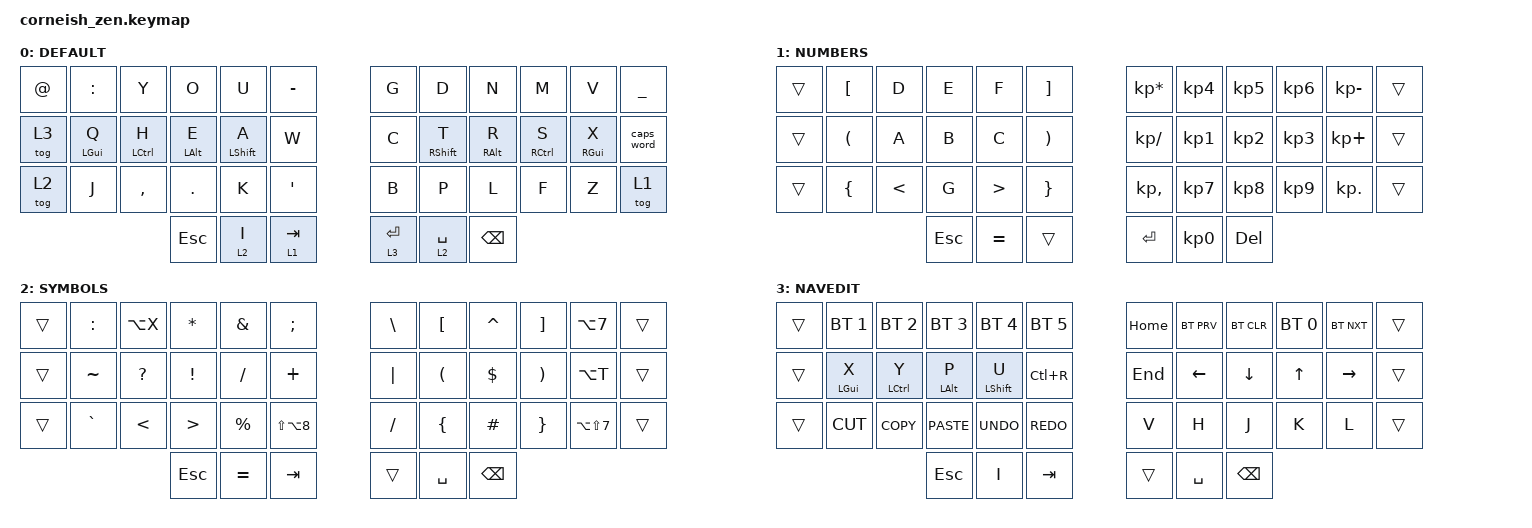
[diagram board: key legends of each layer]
#include <behaviors.dtsi>
#include <dt-bindings/zmk/keys.h>
#include <dt-bindings/zmk/bt.h>

#define DEFAULT 0
#define NUMBERS 1
#define SYMBOLS 2
#define NAVEDIT 3

&caps_word {
    continue-list = <UNDERSCORE MINUS BACKSPACE DELETE>;
};

/ {
  chosen {
    zmk,matrix_transform = &default_transform;
  };
};

/ {
    behaviors {
        hm: homerow_mods {
            compatible = "zmk,behavior-hold-tap";
            label = "HOMEROW_MODS";
            #binding-cells = <2>;
            tapping-term-ms = <150>;
            quick-tap-ms = <0>;
            flavor = "tap-preferred";
            bindings = <&kp>, <&kp>;
        };
    };

    keymap {
                compatible = "zmk,keymap";

                default_layer {
                        label = "DEFAULT";
                        bindings = <
   &kp AT   &kp COLON  &kp Y       &kp O      &kp U       &kp MINUS     &kp G     &kp D       &kp N      &kp M       &kp V      &kp UNDER
   &tog 3   &hm LGUI Q &hm LCTRL H &hm LALT E &hm LSHFT A &kp W         &kp C     &hm RSHFT T &hm RALT R &hm RCTRL S &hm RGUI X &caps_word
   &tog 2   &kp J      &kp COMMA   &kp DOT    &kp K       &kp SQT       &kp B     &kp P       &kp L      &kp F       &kp Z      &tog 1
                                   &kp ESC    &lt 2 I     &lt 1 TAB     &lt 3 RET &lt 2 SPC   &kp BSPC
                        >;
                };

                numbers_layer {
                        label = "NUMBERS";
                        bindings = <
   &trans &kp LBKT &kp D  &kp E &kp F  &kp RBKT   &kp KP_MULTIPLY &kp KP_N4 &kp KP_N5 &kp KP_N6 &kp KP_MINUS &trans
   &trans &kp LPAR &kp A  &kp B &kp C  &kp RPAR   &kp KP_DIVIDE   &kp KP_N1 &kp KP_N2 &kp KP_N3 &kp KP_PLUS &trans
   &trans &kp LBRC &kp LT &kp G &kp GT &kp RBRC   &kp KP_COMMA    &kp KP_N7 &kp KP_N8 &kp KP_N9 &kp KP_DOT &trans
                                    &kp ESC &kp EQUAL &trans          &kp RET   &kp KP_N0  &kp DEL
                        >;
                };

                symbols_layer {
                        label = "SYMBOLS";
                        bindings = <
   &trans &kp COLON &kp LA(X) &kp STAR &kp AMPS  &kp SEMI          &kp BSLH &kp LBKT &kp CARET &kp RBKT &kp LA(N7)     &trans
   &trans &kp TILDE &kp QMARK &kp EXCL &kp FSLH  &kp PLUS          &kp PIPE &kp LPAR &kp DLLR  &kp RPAR &kp LA(T)      &trans
   &trans &kp GRAVE &kp LT    &kp GT   &kp PRCNT &kp LS(LA(N8))    &kp FSLH &kp LBRC &kp HASH  &kp RBRC &kp LA(LS(N7)) &trans
                    	      &kp ESC  &kp EQUAL &kp TAB           &trans   &kp SPC  &kp BSPC
                        >;
                };
                navedit_layer {
                        label = "NAVEDIT";
                        bindings = <
   &trans &bt BT_SEL 1 &bt BT_SEL 2 &bt BT_SEL 3 &bt BT_SEL 4 &bt BT_SEL 5 &kp HOME &bt BT_PRV &bt BT_CLR &bt BT_SEL 0 &bt BT_NXT &trans
   &trans &hm LGUI X   &hm LCTRL Y  &hm LALT P   &hm LSHFT U  &kp LC(R)    &kp END  &kp LEFT   &kp DOWN   &kp UP       &kp RIGHT  &trans
   &trans &kp K_CUT    &kp K_COPY   &kp K_PASTE  &kp K_UNDO   &kp K_REDO   &kp V    &kp H      &kp J      &kp K        &kp L      &trans
                                    &kp ESC      &kp I        &kp TAB      &trans   &kp SPC    &kp BSPC
                        >;
                };
        };
};
